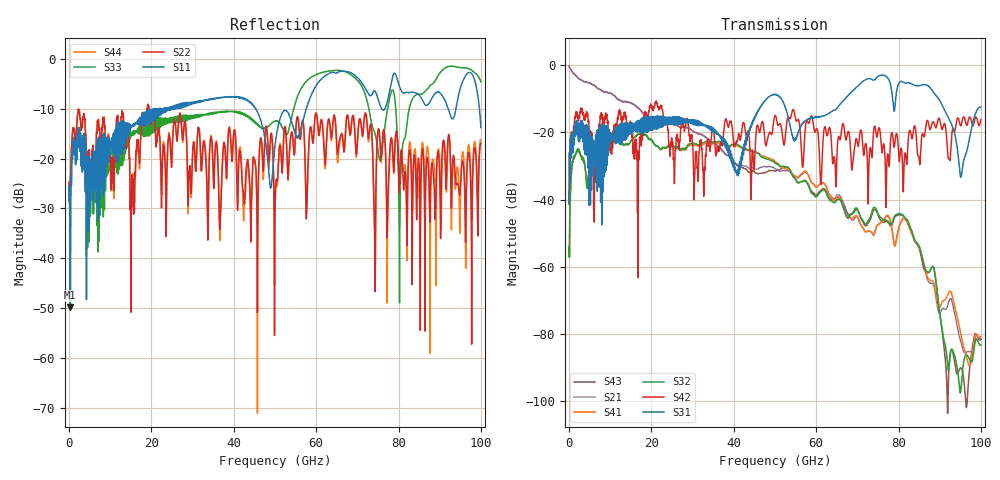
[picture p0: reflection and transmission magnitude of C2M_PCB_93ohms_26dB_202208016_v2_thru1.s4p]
! Info: Touchstone file created by Circ.  Input file=Intel_C2M_200G_11p0in_202208016_staggered.circ
# Hz S RI R 50
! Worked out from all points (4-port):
!   10000 points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, 10 MHz to 100 GHz, reference 50 ohm
!   strongest paths, dB at 10 MHz, 25.01 GHz, 50.01 GHz, 75.01 GHz, 100 GHz:
!     S31: -41.3, -16.9, -8.7, -3.4, -12.5
!     S42: -41.3, -23.7, -14.9, -19.7, -16.3
!     S32: -55.5, -24.2, -29.1, -44.1, -83.3
!     S41: -55.5, -24.4, -28.7, -47.5, -80.7
!     S21: -0.3, -17.3, -30.9, -47.5, -81.5
!     S43: -0.3, -17.2, -31.6, -44.5, -81.5
!   lowest |S11| = -49.9 dB at 310 MHz (marker M1), VSWR 1.01, Z = 49.9 + j0.314 ohm
!   |S11| at or under -10 dB: start of sweep to 20.64 GHz; 45.26 GHz to 57.6 GHz (12.35 GHz wide, 24 % of centre); 92.06 GHz to 93.94 GHz (1.877 GHz wide, 2.02 % of centre)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
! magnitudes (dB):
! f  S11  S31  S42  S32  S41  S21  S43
! 10 MHz  -28.4  -41.3  -41.3  -55.5  -55.5  -0.3  -0.3
! 310 MHz  -49.9  -22.4  -21.8  -38.1  -38.1  -1.2  -1.2
! 40.83 GHz  -7.6  -32.2  -22.7  -23.6  -24.0  -29.5  -29.9
! 49.57 GHz  -21.1  -8.8  -17.8  -28.6  -28.1  -30.4  -31.4
! 86.83 GHz  -9.3  -5.9  -16.8  -61.3  -62.4  -62.9  -61.9
! 95.18 GHz  -5.3  -33.2  -18.0  -96.1  -80.3  -82.5  -90.0
! 100 GHz  -13.8  -12.5  -16.3  -83.3  -80.7  -81.5  -81.5
